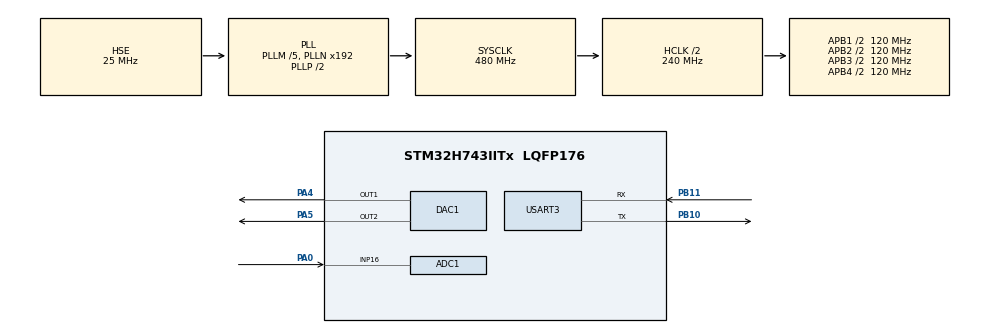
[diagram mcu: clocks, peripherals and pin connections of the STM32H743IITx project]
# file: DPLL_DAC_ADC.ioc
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ADC1.Channel-0\#ChannelRegularConversion=ADC_CHANNEL_16
ADC1.ConversionDataManagement=ADC_CONVERSIONDATA_DMA_ONESHOT
ADC1.ExternalTrigConv=ADC_EXTERNALTRIG_T3_TRGO
ADC1.NbrOfConversionFlag=1
ADC1.OffsetNumber-0\#ChannelRegularConversion=ADC_OFFSET_NONE
ADC1.OffsetSignedSaturation-0\#ChannelRegularConversion=DISABLE
ADC1.Rank-0\#ChannelRegularConversion=1
ADC1.SamplingTime-0\#ChannelRegularConversion=ADC_SAMPLETIME_1CYCLE_5
ADC1.master=1
DAC1.DAC1_OutputBuffer-DAC_OUT1=DAC_OUTPUTBUFFER_DISABLE
DAC1.DAC2_OutputBuffer-DAC_OUT2=DAC_OUTPUTBUFFER_DISABLE
DAC1.DAC_Channel-DAC_OUT1=DAC_CHANNEL_1
DAC1.DAC_Channel-DAC_OUT2=DAC_CHANNEL_2
DAC1.DAC_Trigger-DAC_OUT1=DAC_TRIGGER_T4_TRGO
DAC1.DAC_Trigger-DAC_OUT2=DAC_TRIGGER_T5_TRGO
Dma.ADC1.0.Direction=DMA_PERIPH_TO_MEMORY
Dma.ADC1.0.EventEnable=DISABLE
Dma.ADC1.0.FIFOMode=DMA_FIFOMODE_DISABLE
Dma.ADC1.0.Instance=DMA1_Stream0
Dma.ADC1.0.MemDataAlignment=DMA_MDATAALIGN_HALFWORD
Dma.ADC1.0.MemInc=DMA_MINC_ENABLE
Dma.ADC1.0.Mode=DMA_NORMAL
Dma.ADC1.0.PeriphDataAlignment=DMA_PDATAALIGN_HALFWORD
Dma.ADC1.0.PeriphInc=DMA_PINC_DISABLE
Dma.ADC1.0.Polarity=HAL_DMAMUX_REQ_GEN_RISING
Dma.ADC1.0.Priority=DMA_PRIORITY_LOW
Dma.ADC1.0.RequestNumber=1
Dma.ADC1.0.SignalID=NONE
Dma.ADC1.0.SyncEnable=DISABLE
Dma.ADC1.0.SyncPolarity=HAL_DMAMUX_SYNC_NO_EVENT
Dma.ADC1.0.SyncRequestNumber=1
Dma.ADC1.0.SyncSignalID=NONE
Dma.DAC1_CH1.1.Direction=DMA_MEMORY_TO_PERIPH
Dma.DAC1_CH1.1.EventEnable=DISABLE
Dma.DAC1_CH1.1.FIFOMode=DMA_FIFOMODE_DISABLE
Dma.DAC1_CH1.1.Instance=DMA1_Stream1
Dma.DAC1_CH1.1.MemDataAlignment=DMA_MDATAALIGN_HALFWORD
Dma.DAC1_CH1.1.MemInc=DMA_MINC_ENABLE
Dma.DAC1_CH1.1.Mode=DMA_CIRCULAR
Dma.DAC1_CH1.1.PeriphDataAlignment=DMA_PDATAALIGN_HALFWORD
Dma.DAC1_CH1.1.PeriphInc=DMA_PINC_DISABLE
Dma.DAC1_CH1.1.Polarity=HAL_DMAMUX_REQ_GEN_RISING
Dma.DAC1_CH1.1.Priority=DMA_PRIORITY_LOW
Dma.DAC1_CH1.1.RequestNumber=1
Dma.DAC1_CH1.1.SignalID=NONE
Dma.DAC1_CH1.1.SyncEnable=DISABLE
Dma.DAC1_CH1.1.SyncPolarity=HAL_DMAMUX_SYNC_NO_EVENT
Dma.DAC1_CH1.1.SyncRequestNumber=1
Dma.DAC1_CH1.1.SyncSignalID=NONE
Dma.DAC1_CH2.2.Direction=DMA_MEMORY_TO_PERIPH
Dma.DAC1_CH2.2.EventEnable=DISABLE
Dma.DAC1_CH2.2.FIFOMode=DMA_FIFOMODE_DISABLE
Dma.DAC1_CH2.2.Instance=DMA2_Stream1
Dma.DAC1_CH2.2.MemDataAlignment=DMA_MDATAALIGN_HALFWORD
Dma.DAC1_CH2.2.MemInc=DMA_MINC_ENABLE
Dma.DAC1_CH2.2.Mode=DMA_CIRCULAR
Dma.DAC1_CH2.2.PeriphDataAlignment=DMA_PDATAALIGN_HALFWORD
Dma.DAC1_CH2.2.PeriphInc=DMA_PINC_DISABLE
Dma.DAC1_CH2.2.Polarity=HAL_DMAMUX_REQ_GEN_RISING
Dma.DAC1_CH2.2.Priority=DMA_PRIORITY_LOW
Dma.DAC1_CH2.2.RequestNumber=1
Dma.DAC1_CH2.2.SignalID=NONE
Dma.DAC1_CH2.2.SyncEnable=DISABLE
Dma.DAC1_CH2.2.SyncPolarity=HAL_DMAMUX_SYNC_NO_EVENT
Dma.DAC1_CH2.2.SyncRequestNumber=1
Dma.DAC1_CH2.2.SyncSignalID=NONE
Dma.Request0=ADC1
Dma.Request1=DAC1_CH1
Dma.Request2=DAC1_CH2
Mcu.Family=STM32H7
Mcu.Name=STM32H743IITx
Mcu.Package=LQFP176
NVIC.DMA1_Stream0_IRQn=true\:0\:0\:true\:false\:true\:false\:true\:true
NVIC.DMA1_Stream1_IRQn=true\:0\:0\:true\:false\:true\:false\:true\:true
NVIC.DMA2_Stream1_IRQn=true\:0\:0\:false\:false\:true\:false\:true\:true
NVIC.PriorityGroup=NVIC_PRIORITYGROUP_4
NVIC.TIM6_DAC_IRQn=true\:0\:0\:false\:false\:true\:true\:true\:true
PA0.Mode=IN16-Single-Ended
PA0.Signal=ADC1_INP16
PA13\ (JTMS/SWDIO).Mode=Serial_Wire
PA13\ (JTMS/SWDIO).Signal=DEBUG_JTMS-SWDIO
PA14\ (JTCK/SWCLK).Mode=Serial_Wire
PA14\ (JTCK/SWCLK).Signal=DEBUG_JTCK-SWCLK
PA4.Signal=COMP_DAC11_group
PA5.Signal=COMP_DAC12_group
PB10.Mode=Asynchronous
PB10.Signal=USART3_TX
PB11.Mode=Asynchronous
PB11.Signal=USART3_RX
PC14-OSC32_IN\ (OSC32_IN).Mode=LSE-External-Oscillator
PC14-OSC32_IN\ (OSC32_IN).Signal=RCC_OSC32_IN
PC15-OSC32_OUT\ (OSC32_OUT).Mode=LSE-External-Oscillator
PC15-OSC32_OUT\ (OSC32_OUT).Signal=RCC_OSC32_OUT
PH0-OSC_IN\ (PH0).Mode=HSE-External-Oscillator
PH0-OSC_IN\ (PH0).Signal=RCC_OSC_IN
PH1-OSC_OUT\ (PH1).Mode=HSE-External-Oscillator
PH1-OSC_OUT\ (PH1).Signal=RCC_OSC_OUT
ProjectManager.HeapSize=0x200
ProjectManager.StackSize=0x800
ProjectManager.TargetToolchain=MDK-ARM V5.32
RCC.ADCFreq_Value=75000000
RCC.APB1Freq_Value=120000000
RCC.APB2Freq_Value=120000000
RCC.APB3Freq_Value=120000000
RCC.APB4Freq_Value=120000000
RCC.CortexFreq_Value=480000000
RCC.D1PPRE=RCC_APB3_DIV2
RCC.D2PPRE1=RCC_APB1_DIV2
RCC.D2PPRE2=RCC_APB2_DIV2
RCC.D3PPRE=RCC_APB4_DIV2
RCC.DIVM1=5
RCC.DIVM2=2
RCC.DIVN1=192
RCC.DIVN2=12
RCC.HCLKFreq_Value=240000000
RCC.HPRE=RCC_HCLK_DIV2
RCC.PLL2FRACN=0
RCC.PLL2_VCI_Range=RCC_PLL2VCIRANGE_3
RCC.PLL3FRACN=0
RCC.PLLFRACN=0
RCC.PLLSourceVirtual=RCC_PLLSOURCE_HSE
RCC.SYSCLKFreq_VALUE=480000000
RCC.SYSCLKSource=RCC_SYSCLKSOURCE_PLLCLK
RCC.USBFreq_Value=480000000
SH.COMP_DAC11_group.0=DAC1_OUT1,DAC_OUT1
SH.COMP_DAC12_group.0=DAC1_OUT2,DAC_OUT2
TIM3.Period=240-1
TIM3.TIM_MasterOutputTrigger=TIM_TRGO_UPDATE
TIM4.Period=240-1
TIM4.TIM_MasterOutputTrigger=TIM_TRGO_UPDATE
TIM5.Period=240-1
TIM5.TIM_MasterOutputTrigger=TIM_TRGO_UPDATE
USART3.VirtualMode-Asynchronous=VM_ASYNC
VP_MEMORYMAP_VS_MEMORYMAP.Mode=CurAppReg
VP_TIM3_VS_ClockSourceINT.Mode=Internal
VP_TIM4_VS_ClockSourceINT.Mode=Internal
VP_TIM5_VS_ClockSourceINT.Mode=Internal
board=custom

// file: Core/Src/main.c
/* USER CODE BEGIN Header */
  /**
    ******************************************************************************
    * @file           : main.c
    * @brief          : Main program body
    ******************************************************************************
    * @attention
    *
    * Copyright (c) 2025 STMicroelectronics.
    * All rights reserved.
    *
    * This software is licensed under terms that can be found in the LICENSE file
    * in the root directory of this software component.
    * If no LICENSE file comes with this software, it is provided AS-IS.
    *
    ******************************************************************************
    */
/* USER CODE END Header */
#include "main.h"
#include "adc.h"
#include "dac.h"
#include "dma.h"
#include "memorymap.h"
#include "tim.h"
#include "usart.h"
#include "gpio.h"

/* USER CODE BEGIN Includes */
  #include <stdio.h>
  #include "DDS.h"
  #include "FFT.h"
/* USER CODE END Includes */

void SystemClock_Config(void);

/* USER CODE BEGIN 0 */
int fputc(int ch,FILE *f)
{
    HAL_UART_Transmit(&huart3,(uint8_t *)&ch,1,HAL_MAX_DELAY);
    return ch;
}
int fgetc(FILE *f)
{
    uint8_t ch;
    HAL_UART_Receive( &huart3,(uint8_t*)&ch,1, HAL_MAX_DELAY );
    return ch;
}

  //数组
  extern uint32_t place[2]; //相位累加器
  extern uint32_t ctrl_word1;
  extern uint32_t ctrl_word2;
  extern uint32_t phase_word[2];
  extern uint8_t phaseFlag[2];
  extern uint16_t gADC_Buffer[ADC_LEN];
  // extern Signal Wave[2];
  extern uint16_t DAC_Buffer1[WAVE_POINT];
  extern uint16_t DAC_Buffer2[WAVE_POINT];
  extern uint16_t pData1[WAVE_POINT];
  extern uint16_t pData2[WAVE_POINT];
  extern float phase[2]; //相位

extern Signal Wave[2];
  //一些标志位
  volatile uint8_t ADC_ConvEndFlag = 0; // ADC转换完成 在HAL_ADC_ConvCpltCallback中断中置位
	volatile uint8_t gCheckWaveType = 1;
  volatile uint8_t do_ad_flag1 = 0;
  extern DAC_HandleTypeDef hdac1;

/* USER CODE END 0 */

int main(void)
{

  /* MCU Configuration--------------------------------------------------------*/

  /* Reset of all peripherals, Initializes the Flash interface and the Systick. */
  HAL_Init();

  /* Configure the system clock */
  SystemClock_Config();

  /* Initialize all configured peripherals */
  MX_GPIO_Init();
  MX_DMA_Init();
  MX_ADC1_Init();
  MX_DAC1_Init();
  MX_TIM3_Init();
  MX_TIM4_Init();
  MX_USART3_UART_Init();
  MX_TIM5_Init();
  /* USER CODE BEGIN 2 */

    HAL_TIM_Base_Start(&htim3);
    HAL_ADCEx_Calibration_Start(&hadc1, ADC_CALIB_OFFSET, ADC_SINGLE_ENDED);
    HAL_ADC_Start_DMA(&hadc1,(uint32_t*)gADC_Buffer,ADC_LEN);

  /* USER CODE END 2 */

  /* Infinite loop */
  /* USER CODE BEGIN WHILE */
    while (1)
    {
      //phaseChange(phase[0], 0);
      // phaseChange(phase[1], 1);
		//	ctrl_word1=Wave[0].Freq*OF;
     // ctrl_word2=Wave[1].Freq*OF;

      if(ADC_ConvEndFlag)
      {
        ADC_ConvEndFlag=0; //清除标志位
				if(gCheckWaveType)
				{
					gCheckWaveType=0;
					cal_2frqs();
					fft_cal_2types();
          DDS_SetParameter(Wave);

          HAL_DAC_Start_DMA(&hdac1, DAC_CHANNEL_1, (uint32_t*)pData1, WAVE_POINT, DAC_ALIGN_12B_R);//使能DAC
          HAL_DAC_Start_DMA(&hdac1, DAC_CHANNEL_2, (uint32_t*)pData2,  WAVE_POINT, DAC_ALIGN_12B_R);//使能DAC
          HAL_TIM_Base_Start(&htim4);
          HAL_TIM_Base_Start(&htim5);
				}

        else
        {
          Update_All_DAC_Delays();
        }
      }
    /* USER CODE END WHILE */

    }
}

void SystemClock_Config(void)
{
  RCC_OscInitTypeDef RCC_OscInitStruct = {0};
  RCC_ClkInitTypeDef RCC_ClkInitStruct = {0};

  /** Supply configuration update enable
  */
  HAL_PWREx_ConfigSupply(PWR_LDO_SUPPLY);

  /** Configure the main internal regulator output voltage
  */
  __HAL_PWR_VOLTAGESCALING_CONFIG(PWR_REGULATOR_VOLTAGE_SCALE1);

  while(!__HAL_PWR_GET_FLAG(PWR_FLAG_VOSRDY)) {}

  __HAL_RCC_SYSCFG_CLK_ENABLE();
  __HAL_PWR_VOLTAGESCALING_CONFIG(PWR_REGULATOR_VOLTAGE_SCALE0);

  while(!__HAL_PWR_GET_FLAG(PWR_FLAG_VOSRDY)) {}

  /** Initializes the RCC Oscillators according to the specified parameters
  * in the RCC_OscInitTypeDef structure.
  */
  RCC_OscInitStruct.OscillatorType = RCC_OSCILLATORTYPE_HSE;
  RCC_OscInitStruct.HSEState = RCC_HSE_ON;
  RCC_OscInitStruct.PLL.PLLState = RCC_PLL_ON;
  RCC_OscInitStruct.PLL.PLLSource = RCC_PLLSOURCE_HSE;
  RCC_OscInitStruct.PLL.PLLM = 5;
  RCC_OscInitStruct.PLL.PLLN = 192;
  RCC_OscInitStruct.PLL.PLLP = 2;
  RCC_OscInitStruct.PLL.PLLQ = 2;
  RCC_OscInitStruct.PLL.PLLR = 2;
  RCC_OscInitStruct.PLL.PLLRGE = RCC_PLL1VCIRANGE_2;
  RCC_OscInitStruct.PLL.PLLVCOSEL = RCC_PLL1VCOWIDE;
  RCC_OscInitStruct.PLL.PLLFRACN = 0;
  if (HAL_RCC_OscConfig(&RCC_OscInitStruct) != HAL_OK)
  {
    Error_Handler();
  }

  /** Initializes the CPU, AHB and APB buses clocks
  */
  RCC_ClkInitStruct.ClockType = RCC_CLOCKTYPE_HCLK|RCC_CLOCKTYPE_SYSCLK
                              |RCC_CLOCKTYPE_PCLK1|RCC_CLOCKTYPE_PCLK2
                              |RCC_CLOCKTYPE_D3PCLK1|RCC_CLOCKTYPE_D1PCLK1;
  RCC_ClkInitStruct.SYSCLKSource = RCC_SYSCLKSOURCE_PLLCLK;
  RCC_ClkInitStruct.SYSCLKDivider = RCC_SYSCLK_DIV1;
  RCC_ClkInitStruct.AHBCLKDivider = RCC_HCLK_DIV2;
  RCC_ClkInitStruct.APB3CLKDivider = RCC_APB3_DIV2;
  RCC_ClkInitStruct.APB1CLKDivider = RCC_APB1_DIV2;
  RCC_ClkInitStruct.APB2CLKDivider = RCC_APB2_DIV2;
  RCC_ClkInitStruct.APB4CLKDivider = RCC_APB4_DIV2;

  if (HAL_RCC_ClockConfig(&RCC_ClkInitStruct, FLASH_LATENCY_4) != HAL_OK)
  {
    Error_Handler();
  }
}

/* USER CODE BEGIN 4 */
  void HAL_ADC_ConvCpltCallback(ADC_HandleTypeDef *hadc)
  {
  if (hadc==&hadc1)
    {
      UNUSED(hadc);
      HAL_ADC_Stop(hadc);
      ADC_ConvEndFlag = 1;
    }
  }

    void HAL_DAC_ConvHalfCpltCallbackCh1(DAC_HandleTypeDef *hdac)
  {
      for(uint16_t i=0;i<WAVE_POINT/2;i++)
      {
          pData1[i] = DAC_Buffer1[place[0] >> 22];
          pData2[i] = DAC_Buffer2[place[1] >> 22];
          place[0] += ctrl_word1;
          place[1] += ctrl_word2;
      }
  }

  void HAL_DAC_ConvCpltCallbackCh1(DAC_HandleTypeDef *hdac)
  {
      for(uint16_t i=WAVE_POINT/2;i<WAVE_POINT;i++)
      {
          pData1[i] = DAC_Buffer1[place[0] >> 22];
          pData2[i] = DAC_Buffer2[place[1] >> 22];
          place[0] += ctrl_word1;
          place[1] += ctrl_word2;
      }
      HAL_ADC_Start_DMA(&hadc1,(uint32_t*)gADC_Buffer,ADC_LEN);
  }
// void HAL_TIM_PeriodElapsedCallback(TIM_HandleTypeDef *htim)
// {

//   HAL_TIM_Base_Start(&htim4);
// }

/* USER CODE END 4 */

void Error_Handler(void)
{
    __disable_irq();
    while (1)
    {
    }
}
